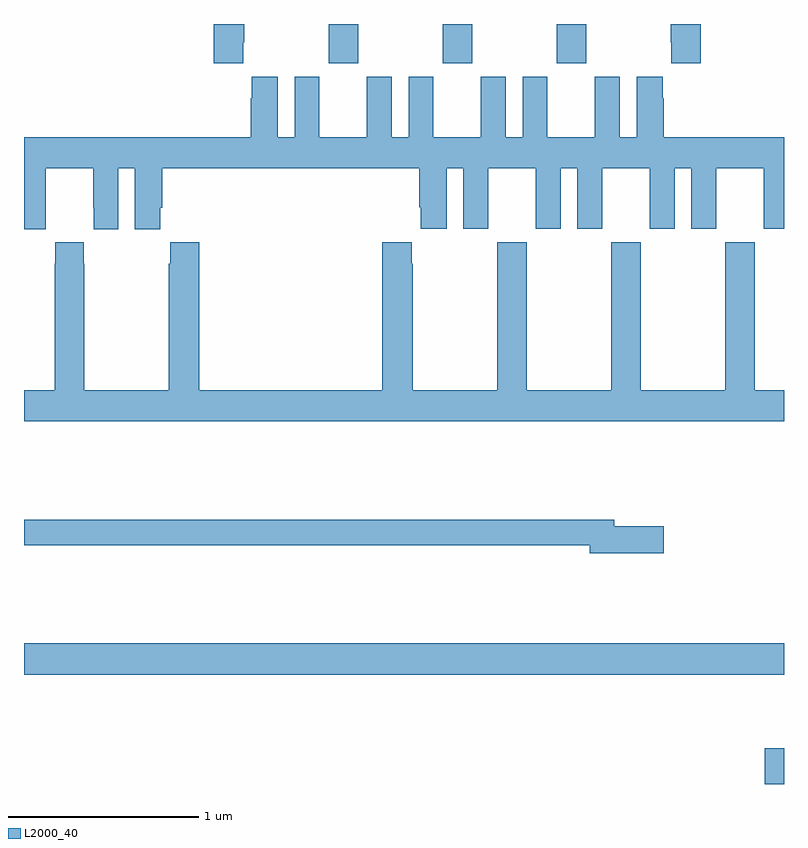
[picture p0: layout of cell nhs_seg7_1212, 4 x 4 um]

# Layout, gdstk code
import gdstk
lib = gdstk.Library(unit=1e-6, precision=1e-09)
def R(c, l, rs):  # rectangles x0, y0, x1, y1
    for r in rs: c.add(gdstk.rectangle(r[:2], r[2:], *l))
def A(c, l, x, y, w, h, nx, ny, dx, dy):  # array of equal rectangles
    R(c, l, [(x+i*dx, y+j*dy, x+i*dx+w, y+j*dy+h) for i in range(nx) for j in range(ny)])
def P(c, l, *ps):  # polygons
    for p in ps: c.add(gdstk.Polygon(p, *l))
L2000_40 = (2000, 40)

nhs_seg7_1212 = lib.new_cell('nhs_seg7_1212')
A(nhs_seg7_1212, L2000_40, 196.603, 1043.793, 0.155, 0.207, 3, 1, 0.6, 0)
R(nhs_seg7_1212, L2000_40, [(198.899,1040,199,1040.188), (195,1040.576,199,1040.74)])
P(nhs_seg7_1212, L2000_40, [(198.563,1044),(198.403,1044),(198.403,1043.905),(198.407,1043.905),(198.407,1043.793),(198.563,1043.793)],
  [(196.153,1043.905),(196.158,1043.905),(196.158,1044),(195.998,1044),(195.998,1043.793),(196.153,1043.793)],
  [(195.114,1043.032),(195.115,1043.032),(195.115,1043.24),(195.365,1043.24),(195.365,1043.032),(195.366,1043.032),(195.366,1042.92),(195.496,1042.92),(195.496,1043.24),(195.584,1043.24),(195.584,1042.92),(195.718,1042.92),(195.718,1043.032),(195.728,1043.032),(195.728,1043.24),(197.081,1043.24),(197.081,1043.035),(197.087,1043.035),(197.087,1042.923),(197.224,1042.923),(197.224,1043.24),(197.312,1043.24),(197.312,1042.923),(197.443,1042.923),(197.443,1043.24),(197.693,1043.24),(197.693,1042.923),(197.824,1042.923),(197.824,1043.24),(197.912,1043.24),(197.912,1042.923),(198.043,1042.923),(198.043,1043.24),(198.293,1043.24),(198.293,1042.923),(198.424,1042.923),(198.424,1043.24),(198.512,1043.24),(198.512,1042.923),(198.643,1042.923),(198.643,1043.24),(198.893,1043.24),(198.893,1042.923),(199,1042.923),(199,1043.404),(198.368,1043.404),(198.368,1043.609),(198.361,1043.609),(198.361,1043.722),(198.224,1043.722),(198.224,1043.404),(198.136,1043.404),(198.136,1043.722),(198.005,1043.722),(198.005,1043.404),(197.755,1043.404),(197.755,1043.722),(197.624,1043.722),(197.624,1043.404),(197.536,1043.404),(197.536,1043.722),(197.405,1043.722),(197.405,1043.404),(197.155,1043.404),(197.155,1043.722),(197.024,1043.722),(197.024,1043.404),(196.936,1043.404),(196.936,1043.722),(196.805,1043.722),(196.805,1043.404),(196.555,1043.404),(196.555,1043.722),(196.424,1043.722),(196.424,1043.404),(196.336,1043.404),(196.336,1043.722),(196.199,1043.722),(196.199,1043.609),(196.193,1043.609),(196.193,1043.404),(195,1043.404),(195,1042.92),(195.114,1042.92)],
  [(199,1042.072),(198.846,1042.072),(198.846,1042.852),(198.691,1042.852),(198.691,1042.072),(198.246,1042.072),(198.246,1042.852),(198.091,1042.852),(198.091,1042.072),(197.646,1042.072),(197.646,1042.852),(197.491,1042.852),(197.491,1042.072),(197.046,1042.072),(197.046,1042.739),(197.041,1042.739),(197.041,1042.852),(196.886,1042.852),(196.886,1042.072),(195.923,1042.072),(195.923,1042.852),(195.769,1042.852),(195.769,1042.739),(195.763,1042.739),(195.763,1042.072),(195.318,1042.072),(195.318,1042.739),(195.315,1042.739),(195.315,1042.852),(195.165,1042.852),(195.165,1042.739),(195.163,1042.739),(195.163,1042.072),(195,1042.072),(195,1041.908),(199,1041.908)],
  [(198.367,1041.356),(198.106,1041.356),(198.106,1041.392),(195,1041.392),(195,1041.256),(197.978,1041.256),(197.978,1041.214),(198.367,1041.214)])

lib.write_gds('nhs_seg7_1212.gds')
